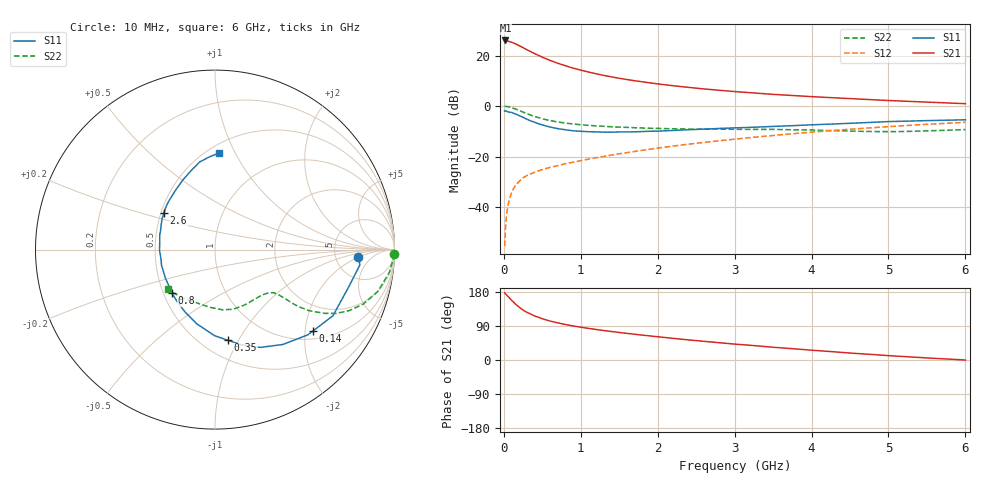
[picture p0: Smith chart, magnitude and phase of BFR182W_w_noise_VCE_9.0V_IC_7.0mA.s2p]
! (c) 2017  Infineon Technologies AG, Munich
! Infineon Technologies  Discrete & RF Semiconductors
! BFR182W
! VCE =  9.0 V,  IC =  7.0 mA
! Common Emitter S-Parameters:  Jan 2017
# GHz  S  MA  R  50
!  f  S11  S21  S12  S22
! GHz  MAG  ANG  MAG  ANG  MAG  ANG  MAG  ANG
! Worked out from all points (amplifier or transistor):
!   77 points, 10 MHz to 6 GHz, reference 50 ohm
!   highest |S21| = 26.0 dB at 20 MHz (marker M1)
!   |S21| within 3 dB of that: start of sweep to 259.8 MHz
!   unconditionally stable (mu >= 1): 1.237 GHz to 2.735 GHz
!   at 130 MHz: K = 0.22, MSG = 28.7 dB, |S12| = -32.4 dB
!   at 2.2 GHz: K = 1.03, MAG = 10.8 dB, |S12| = -15.8 dB
!   at 6 GHz: K = 0.84, MSG = 3.7 dB, |S12| = -6.4 dB
!   lowest NFmin = 0.95 dB at 450 MHz
!   S11 on the Smith chart (normalised r, x): 10 MHz: 8.52, -2.05; 140 MHz: 1.20, -2.20; 350 MHz: 0.66, -0.91; 800 MHz: 0.55, -0.30; 2.6 GHz: 0.52, +0.24; 6 GHz: 0.57, +0.87
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0.01  0.8005 -3.1  19.84 177.1  0.0017 96.4  0.9976 -1.4
0.02  0.8117 -6.0  19.94 175.1  0.0036 97.1  0.9936 -3.2
0.05  0.7756 -14.9  19.43 168.4  0.01 81.1  0.9792 -7.5
0.1  0.7535 -29.3  18.46 157.6  0.0194 74.8  0.9369 -14.4
0.14  0.7091 -39.8  17.36 149.8  0.0255 70.9  0.8914 -18.9
0.15  0.702 -42.6  17.14 147.7  0.0271 70.2  0.881 -20.1
0.2  0.65 -54.4  15.72 139.2  0.0326 66.5  0.8208 -24.5
0.25  0.6004 -65.2  14.39 131.7  0.0383 62.6  0.7626 -27.8
0.3  0.5515 -74.5  13.06 125.8  0.0423 59.9  0.7084 -30.1
0.35  0.5107 -81.8  11.97 121.4  0.0458 59.0  0.6665 -31.5
0.4  0.4796 -90.3  10.97 116.1  0.0494 58.2  0.6251 -33.0
0.5  0.4254 -103.9  9.3 108.8  0.0555 57.1  0.5634 -34.3
0.6  0.3863 -115.4  8.055 102.9  0.0616 57.0  0.5192 -34.8
0.8  0.3413 -134.8  6.302 93.7  0.0726 59.0  0.4628 -35.1
1.1  0.3123 -157.1  4.734 83.5  0.0896 60.8  0.4177 -35.9
1.5  0.3092 -178.9  3.565 72.7  0.1142 62.6  0.3849 -38.7
2.1  0.3253 158.0  2.647 59.3  0.1551 63.0  0.3596 -46.9
2.6  0.3513 144.0  2.194 49.3  0.1915 61.9  0.3509 -56.1
3.1  0.3761 132.0  1.896 40.4  0.2305 59.6  0.3476 -65.5
4.1  0.4331 113.1  1.516 24.4  0.3146 52.9  0.3337 -85.3
5.1  0.4996 98.6  1.275 10.3  0.4022 44.1  0.3142 -113.7
6  0.5383 87.5  1.12 -0.1  0.4794 35.0  0.3446 -140.1
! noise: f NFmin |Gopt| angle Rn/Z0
0.45  0.95  0.17  35  0.16
0.9  1.04  0.15  63  0.15
1.9  1.57  0.18  174  0.13
2.4  1.84  0.19  -178  0.18
